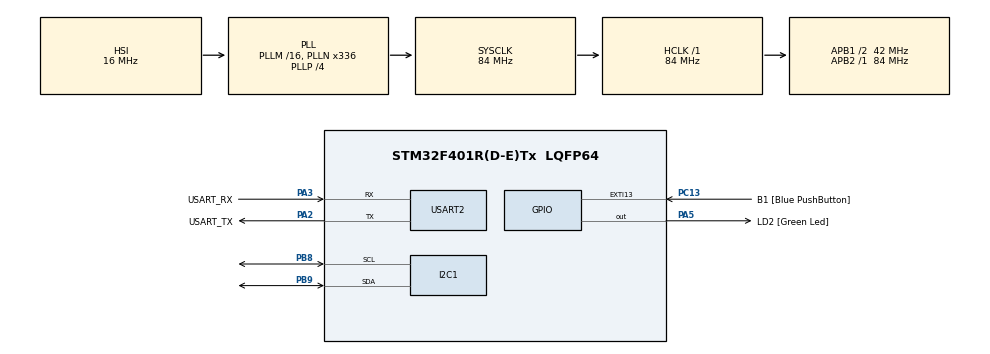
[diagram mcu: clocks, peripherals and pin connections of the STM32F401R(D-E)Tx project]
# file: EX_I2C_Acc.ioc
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Mcu.Family=STM32F4
Mcu.Name=STM32F401R(D-E)Tx
Mcu.Package=LQFP64
NVIC.PriorityGroup=NVIC_PRIORITYGROUP_0
PA13.GPIO_Label=TMS
PA13.Mode=Serial_Wire
PA13.Signal=SYS_JTMS-SWDIO
PA14.GPIO_Label=TCK
PA14.Mode=Serial_Wire
PA14.Signal=SYS_JTCK-SWCLK
PA2.GPIO_Label=USART_TX
PA2.GPIO_Mode=GPIO_MODE_AF_PP
PA2.GPIO_PuPd=GPIO_NOPULL
PA2.GPIO_Speed=GPIO_SPEED_FREQ_LOW
PA2.Mode=Asynchronous
PA2.Signal=USART2_TX
PA3.GPIO_Label=USART_RX
PA3.GPIO_Mode=GPIO_MODE_AF_PP
PA3.GPIO_PuPd=GPIO_NOPULL
PA3.GPIO_Speed=GPIO_SPEED_FREQ_LOW
PA3.Mode=Asynchronous
PA3.Signal=USART2_RX
PA5.GPIO_Label=LD2 [Green Led]
PA5.GPIO_Mode=GPIO_MODE_OUTPUT_PP
PA5.GPIO_PuPd=GPIO_NOPULL
PA5.GPIO_Speed=GPIO_SPEED_FREQ_LOW
PA5.Signal=GPIO_Output
PB3.GPIO_Label=SWO
PB3.Signal=SYS_JTDO-SWO
PB8.Mode=I2C
PB8.Signal=I2C1_SCL
PB9.Mode=I2C
PB9.Signal=I2C1_SDA
PC13-ANTI_TAMP.GPIO_Label=B1 [Blue PushButton]
PC13-ANTI_TAMP.GPIO_ModeDefaultEXTI=GPIO_MODE_IT_FALLING
PC13-ANTI_TAMP.GPIO_PuPd=GPIO_NOPULL
PC13-ANTI_TAMP.Signal=GPXTI13
PC14-OSC32_IN.Mode=LSE-External-Oscillator
PC14-OSC32_IN.Signal=RCC_OSC32_IN
PC15-OSC32_OUT.Mode=LSE-External-Oscillator
PC15-OSC32_OUT.Signal=RCC_OSC32_OUT
PH0\ -\ OSC_IN.Mode=HSE-External-Clock-Source
PH0\ -\ OSC_IN.Signal=RCC_OSC_IN
PH1\ -\ OSC_OUT.Mode=HSE-External-Clock-Source
PH1\ -\ OSC_OUT.Signal=RCC_OSC_OUT
ProjectManager.HeapSize=0x200
ProjectManager.StackSize=0x400
ProjectManager.TargetToolchain=STM32CubeIDE
RCC.48MHZClocksFreq_Value=48000000
RCC.AHBFreq_Value=84000000
RCC.APB1CLKDivider=RCC_HCLK_DIV2
RCC.APB1Freq_Value=42000000
RCC.APB1TimFreq_Value=84000000
RCC.APB2Freq_Value=84000000
RCC.APB2TimFreq_Value=84000000
RCC.CortexFreq_Value=84000000
RCC.HCLKFreq_Value=84000000
RCC.HSE_VALUE=8000000
RCC.HSI_VALUE=16000000
RCC.PLLN=336
RCC.PLLP=RCC_PLLP_DIV4
RCC.PLLQ=7
RCC.SYSCLKFreq_VALUE=84000000
RCC.SYSCLKSource=RCC_SYSCLKSOURCE_PLLCLK
RCC.VCOOutputFreq_Value=336000000
USART2.VirtualMode=VM_ASYNC
board=NUCLEO-F401RE

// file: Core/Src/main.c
/* USER CODE BEGIN Header */
/**
  ******************************************************************************
  * @file           : main.c
  * @brief          : Main program body
  ******************************************************************************
  * @attention
  *
  * Copyright (c) 2022 STMicroelectronics.
  * All rights reserved.
  *
  * This software is licensed under terms that can be found in the LICENSE file
  * in the root directory of this software component.
  * If no LICENSE file comes with this software, it is provided AS-IS.
  *
  ******************************************************************************
  */
/* USER CODE END Header */
#include "main.h"

I2C_HandleTypeDef hi2c1;

UART_HandleTypeDef huart2;

void SystemClock_Config(void);
static void MX_GPIO_Init(void);
static void MX_USART2_UART_Init(void);
static void MX_I2C1_Init(void);

/* USER CODE BEGIN 0 */
#define LIS_REGISTER  0b01010000
/* USER CODE END 0 */

int main(void)
{

  /* MCU Configuration--------------------------------------------------------*/

  /* Reset of all peripherals, Initializes the Flash interface and the Systick. */
  HAL_Init();

  /* Configure the system clock */
  SystemClock_Config();

  /* Initialize all configured peripherals */
  MX_GPIO_Init();
  MX_USART2_UART_Init();
  MX_I2C1_Init();
  /* USER CODE BEGIN 2 */

  uint8_t X_Reg = 0x29;
  uint8_t Y_Reg = 0x2B;
  uint8_t Z_Reg = 0x2D;

  uint8_t ctrl_reg1[] = {0x20, 0b00010111}; //0001 -> 1Hz 0-> Normal mode 111->X,Y,Z axes enabled
  uint8_t ctrl_reg2[] = {0x21, 0b00000000}; //all 0s-> all filters disabled
  uint8_t ctrl_reg4[] = {0x23, 0b00000000}; //3rd and 4th zeroes -> 2g resolution

  char string[64];
  int8_t x=0;
  int8_t y=0;
  int8_t z=0;

  /*if(HAL_I2C_Master_Transmit(&hi2c1, 0b01010000, &X_Reg, 1, 10) == HAL_OK )
	  LIS_REGISTER = 0b01010000; //this is the right LIS address
  else if(HAL_I2C_Master_Transmit(&hi2c1, 0b00110000, &X_Reg, 1, 10) == HAL_OK)
	  LIS_REGISTER = 0b00110000;*/

  HAL_I2C_Master_Transmit(&hi2c1, LIS_REGISTER, ctrl_reg1, 2, 200);
  HAL_I2C_Master_Transmit(&hi2c1, LIS_REGISTER, ctrl_reg2, 2, 200);
  HAL_I2C_Master_Transmit(&hi2c1, LIS_REGISTER, ctrl_reg4, 2, 200);

  /* USER CODE END 2 */

  /* Infinite loop */
  /* USER CODE BEGIN WHILE */
  while (1)
  {
	  //X read
	    if(HAL_I2C_Master_Transmit(&hi2c1, LIS_REGISTER, &X_Reg, 1, 200)==HAL_OK)
	    {
	  	  HAL_I2C_Master_Receive(&hi2c1, LIS_REGISTER+1, &x, 1, 200);
	    }
	    //Y read
	    if(HAL_I2C_Master_Transmit(&hi2c1, LIS_REGISTER, &Y_Reg, 1, 200)==HAL_OK)
	    {
	  	  HAL_I2C_Master_Receive(&hi2c1, LIS_REGISTER+1, &y, 1, 200);
	    }
	    //Z read
	    if(HAL_I2C_Master_Transmit(&hi2c1, LIS_REGISTER, &Z_Reg, 1, 200)==HAL_OK)
	    {
	      HAL_I2C_Master_Receive(&hi2c1, LIS_REGISTER+1, &z, 1, 200);
	    }

	    float x_g= x/64.0;//because of resolution
	    float y_g = y/64.0;
	    float z_g = z/64.0;
	    int length= snprintf(string, sizeof(string),"X: %+.2f\r\nY: %+.2f\r\nZ: %+.2f \r\n\n",x_g,y_g,z_g);
	    HAL_UART_Transmit(&huart2, string, length, 200);
	    HAL_Delay(1000);
    /* USER CODE END WHILE */

  }
}

void SystemClock_Config(void)
{
  RCC_OscInitTypeDef RCC_OscInitStruct = {0};
  RCC_ClkInitTypeDef RCC_ClkInitStruct = {0};

  /** Configure the main internal regulator output voltage
  */
  __HAL_RCC_PWR_CLK_ENABLE();
  __HAL_PWR_VOLTAGESCALING_CONFIG(PWR_REGULATOR_VOLTAGE_SCALE2);
  /** Initializes the RCC Oscillators according to the specified parameters
  * in the RCC_OscInitTypeDef structure.
  */
  RCC_OscInitStruct.OscillatorType = RCC_OSCILLATORTYPE_HSI;
  RCC_OscInitStruct.HSIState = RCC_HSI_ON;
  RCC_OscInitStruct.HSICalibrationValue = RCC_HSICALIBRATION_DEFAULT;
  RCC_OscInitStruct.PLL.PLLState = RCC_PLL_ON;
  RCC_OscInitStruct.PLL.PLLSource = RCC_PLLSOURCE_HSI;
  RCC_OscInitStruct.PLL.PLLM = 16;
  RCC_OscInitStruct.PLL.PLLN = 336;
  RCC_OscInitStruct.PLL.PLLP = RCC_PLLP_DIV4;
  RCC_OscInitStruct.PLL.PLLQ = 7;
  if (HAL_RCC_OscConfig(&RCC_OscInitStruct) != HAL_OK)
  {
    Error_Handler();
  }
  /** Initializes the CPU, AHB and APB buses clocks
  */
  RCC_ClkInitStruct.ClockType = RCC_CLOCKTYPE_HCLK|RCC_CLOCKTYPE_SYSCLK
                              |RCC_CLOCKTYPE_PCLK1|RCC_CLOCKTYPE_PCLK2;
  RCC_ClkInitStruct.SYSCLKSource = RCC_SYSCLKSOURCE_PLLCLK;
  RCC_ClkInitStruct.AHBCLKDivider = RCC_SYSCLK_DIV1;
  RCC_ClkInitStruct.APB1CLKDivider = RCC_HCLK_DIV2;
  RCC_ClkInitStruct.APB2CLKDivider = RCC_HCLK_DIV1;

  if (HAL_RCC_ClockConfig(&RCC_ClkInitStruct, FLASH_LATENCY_2) != HAL_OK)
  {
    Error_Handler();
  }
}

static void MX_I2C1_Init(void)
{

  hi2c1.Instance = I2C1;
  hi2c1.Init.ClockSpeed = 100000;
  hi2c1.Init.DutyCycle = I2C_DUTYCYCLE_2;
  hi2c1.Init.OwnAddress1 = 0;
  hi2c1.Init.AddressingMode = I2C_ADDRESSINGMODE_7BIT;
  hi2c1.Init.DualAddressMode = I2C_DUALADDRESS_DISABLE;
  hi2c1.Init.OwnAddress2 = 0;
  hi2c1.Init.GeneralCallMode = I2C_GENERALCALL_DISABLE;
  hi2c1.Init.NoStretchMode = I2C_NOSTRETCH_DISABLE;
  if (HAL_I2C_Init(&hi2c1) != HAL_OK)
  {
    Error_Handler();
  }

}

static void MX_USART2_UART_Init(void)
{

  huart2.Instance = USART2;
  huart2.Init.BaudRate = 115200;
  huart2.Init.WordLength = UART_WORDLENGTH_8B;
  huart2.Init.StopBits = UART_STOPBITS_1;
  huart2.Init.Parity = UART_PARITY_NONE;
  huart2.Init.Mode = UART_MODE_TX_RX;
  huart2.Init.HwFlowCtl = UART_HWCONTROL_NONE;
  huart2.Init.OverSampling = UART_OVERSAMPLING_16;
  if (HAL_UART_Init(&huart2) != HAL_OK)
  {
    Error_Handler();
  }

}

static void MX_GPIO_Init(void)
{
  GPIO_InitTypeDef GPIO_InitStruct = {0};

  /* GPIO Ports Clock Enable */
  __HAL_RCC_GPIOC_CLK_ENABLE();
  __HAL_RCC_GPIOH_CLK_ENABLE();
  __HAL_RCC_GPIOA_CLK_ENABLE();
  __HAL_RCC_GPIOB_CLK_ENABLE();

  /*Configure GPIO pin Output Level */
  HAL_GPIO_WritePin(LD2_GPIO_Port, LD2_Pin, GPIO_PIN_RESET);

  /*Configure GPIO pin : B1_Pin */
  GPIO_InitStruct.Pin = B1_Pin;
  GPIO_InitStruct.Mode = GPIO_MODE_IT_FALLING;
  GPIO_InitStruct.Pull = GPIO_NOPULL;
  HAL_GPIO_Init(B1_GPIO_Port, &GPIO_InitStruct);

  /*Configure GPIO pin : LD2_Pin */
  GPIO_InitStruct.Pin = LD2_Pin;
  GPIO_InitStruct.Mode = GPIO_MODE_OUTPUT_PP;
  GPIO_InitStruct.Pull = GPIO_NOPULL;
  GPIO_InitStruct.Speed = GPIO_SPEED_FREQ_LOW;
  HAL_GPIO_Init(LD2_GPIO_Port, &GPIO_InitStruct);

}

void Error_Handler(void)
{
  __disable_irq();
  while (1)
  {
  }
}
